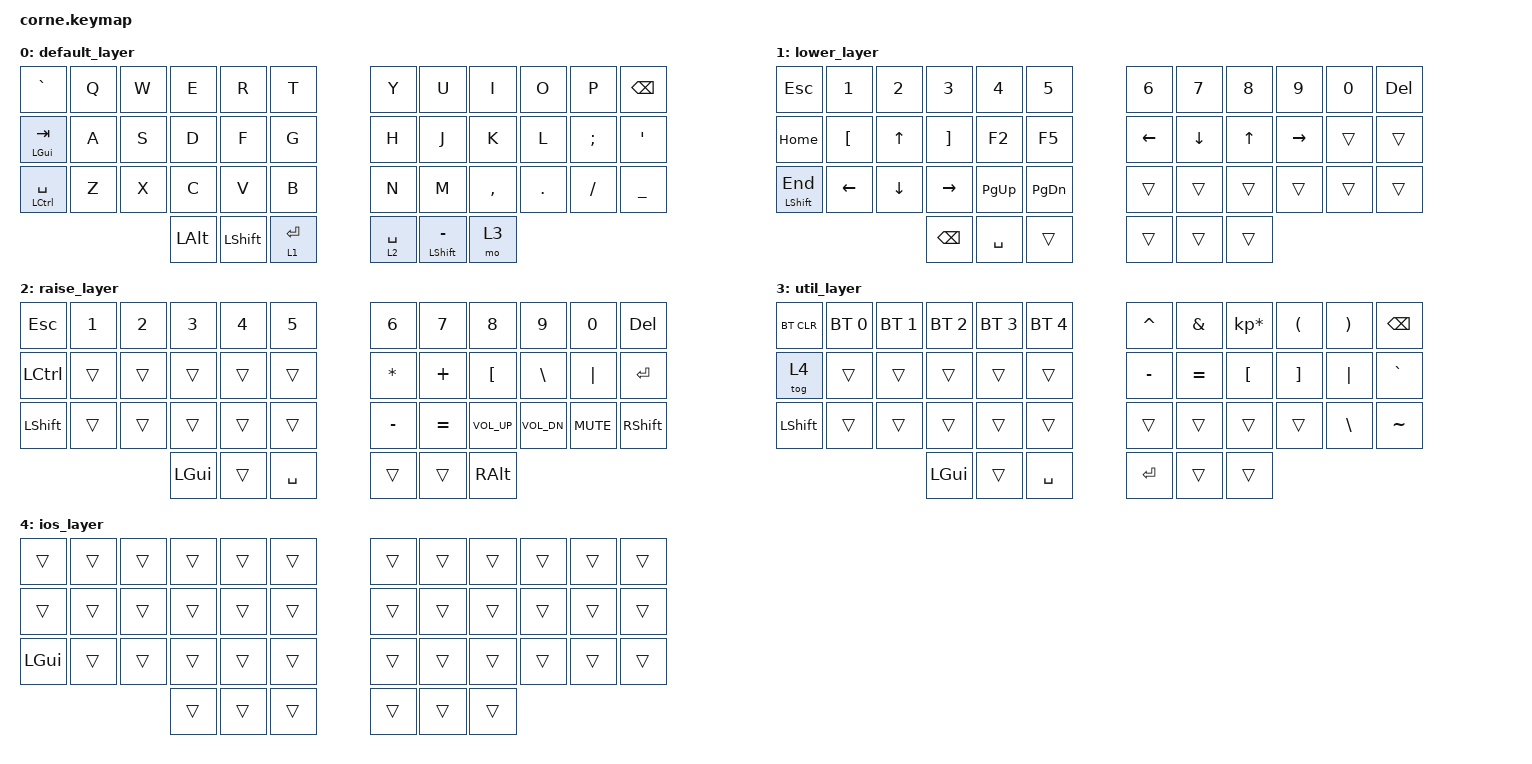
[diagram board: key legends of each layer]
/*
 * Copyright (c) 2020 The ZMK Contributor
 *
 * SPDX-License-Identifier: MIT
 */

#include <behaviors.dtsi>
#include <dt-bindings/zmk/keys.h>
#include <dt-bindings/zmk/bt.h>

/ {
        keymap {
                compatible = "zmk,keymap";

                default_layer {
// -----------------------------------------------------------------------------------------
// | GRV |  Q  |  W  |  E  |  R  |  T  |       |  Y  |  U   |  I  |  O  |  P  | BKSP |
// | TAB |  A  |  S  |  D  |  F  |  G  |       |  H  |  J   |  K  |  L  |  ;  |  '   |
// | CTL |  Z  |  X  |  C  |  V  |  B  |       |  N  |  M   |  ,  |  .  |  /  | UNDS |
//                    | ALT | SFT | ENLW |   | SPRS | MIN  | UTIL |
                        bindings = <
   &kp GRAVE       &kp Q &kp W &kp E &kp R &kp T     &kp Y &kp U  &kp I     &kp O   &kp P    &kp BSPC
   &mt LGUI TAB    &kp A &kp S &kp D &kp F &kp G     &kp H &kp J  &kp K     &kp L   &kp SEMI &kp SQT
   &mt LCTRL SPACE &kp Z &kp X &kp C &kp V &kp B     &kp N &kp M  &kp COMMA &kp DOT &kp FSLH &kp UNDER
                  &kp LALT &kp LSHFT &lt 1 ENTER    &lt 2 SPACE &mt LSHFT MINUS &mo 3
                        >;
                };
                lower_layer {
// -----------------------------------------------------------------------------------------
// |  ESC |  1   |  2  |   3  |   4  |   5  |       |  6  |  7  |  8  |  9  |  0  | BKSP |
// | HOME | LBRC |  UP | RBRC |  F2  |  F5  |       | LFT | DWN |  UP | RGT |     |      |
// | END  | LEFT | DWN | LEFT | PGUP | PGDN |       |     |     |     |     |     |      |
//                       | BSPC | SPC |      |     |     |    |
                        bindings = <
   &kp ESC       &kp N1   &kp N2   &kp N3    &kp N4    &kp N5          &kp N6   &kp N7   &kp N8 &kp N9    &kp N0 &kp DEL
   &kp HOME      &kp LBKT &kp UP   &kp RBKT  &kp F2    &kp F5          &kp LEFT &kp DOWN &kp UP &kp RIGHT &trans &trans
   &mt LSHFT END &kp LEFT &kp DOWN &kp RIGHT &kp PG_UP &kp PG_DN       &trans   &trans   &trans &trans    &trans &trans
                                        &kp BSPC &kp SPACE &trans   &trans &trans &trans
                        >;
                };

                raise_layer {
// -----------------------------------------------------------------------------------------
// |  ESC |  1  |  2  |  3  |  4  |  5  |   |  6  |  7  |  8  |  9  |  0  |  DEL |
// |      |     |     |     |     |     |   |  *  |  +  |  {  |  \  |  |  |  ENT |
// |      |     |     |     |     |     |   |  -  |  =  | VUP | VDN | MUT | RSFT | 
//                    | GUI |     | SPC |   | ENT |     | ALT |
                        bindings = <
   &kp ESC   &kp N1    &kp N2  &kp N3    &kp N4    &kp N5      &kp N6    &kp N7    &kp N8       &kp N9       &kp N0     &kp DEL
   &kp LCTRL &trans    &trans  &trans    &trans    &trans      &kp STAR  &kp PLUS  &kp LBKT     &kp BSLH     &kp PIPE   &kp ENTER
   &kp LSHFT &trans    &trans  &trans    &trans    &trans      &kp MINUS &kp EQUAL &kp K_VOL_UP &kp K_VOL_DN &kp K_MUTE &kp RSHFT
                                &kp LGUI &trans &kp SPACE      &trans &trans &kp RALT
                        >;
                };
                util_layer {
// -----------------------------------------------------------------------------------------
// | BTCLR | BT0 | BT1   | BT2 | BT3 | BT4 |   |  6  |  7  |  8  |  9  |  0  |  DEL |
// |  iOS  | Win | MacOS |     |     |     |   |  *  |  +  |  {  |  \  |  |  |  ENT |
// |       |     |       |     |     |     |   |  -  |  =  | VUP | VDN | MUT | RSFT | 
//                    | GUI |     | SPC |      | ENT |     | ALT |
                        bindings = <
   &bt BT_CLR &bt BT_SEL 0 &bt BT_SEL 1 &bt BT_SEL 2 &bt BT_SEL 3 &bt BT_SEL 4       &kp CARET &kp AMPS  &kp KP_MULTIPLY &kp LPAR &kp RPAR &kp BSPC
   &tog 4     &trans        &trans       &trans       &trans       &trans             &kp MINUS &kp EQUAL &kp LBKT        &kp RBKT &kp PIPE &kp GRAVE
   &kp LSHFT &trans        &trans       &trans       &trans       &trans             &trans    &trans    &trans          &trans   &kp BSLH &kp TILDE
                                               &kp LGUI &trans &kp SPACE             &kp RET &trans &trans
                        >;
                };
                ios_layer {
// -----------------------------------------------------------------------------------------
// |      |     |     |     |     |     |     |      |     |     |     |     |     |
// |      |     |     |     |     |     |     |      |     |     |     |     |     |
// |  CMD |     |     |     |     |     |     |      |     |     |     |     |     | 
//                    |     |     |     |     |      |     |     |
                        bindings = <
   &trans   &trans    &trans  &trans    &trans    &trans     &trans &trans    &trans  &trans    &trans    &trans
   &trans   &trans    &trans  &trans    &trans    &trans     &trans &trans    &trans  &trans    &trans    &trans
   &kp LGUI &trans    &trans  &trans    &trans    &trans     &trans &trans    &trans  &trans    &trans    &trans
                                  &trans &trans &trans     &trans &trans &trans
                        >;
                };
        };
};
